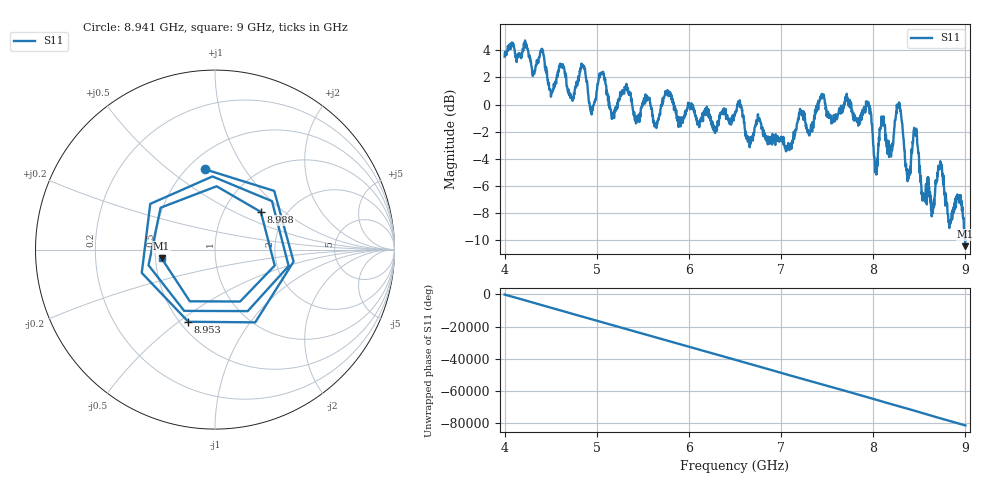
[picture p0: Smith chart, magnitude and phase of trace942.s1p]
! Created with skrf 1.8.0 (http://scikit-rf.org).
# Hz S RI R 50.0
!freq ReS11 ImS11
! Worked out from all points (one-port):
!   1601 points, 4 GHz to 9 GHz, reference 50 ohm
!   lowest |S11| = -10.4 dB at 9 GHz (marker M1), VSWR 1.86, Z = 27 - j2.89 ohm
!   |S11| at or under -10 dB: 8.997643 GHz to end of sweep
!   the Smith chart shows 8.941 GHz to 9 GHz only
!   S11 on the Smith chart (normalised r, x): 8.941 GHz: 0.60, +0.68; 8.953 GHz: 0.55, -0.54; 8.988 GHz: 1.49, +0.70; 9 GHz: 0.54, -0.06
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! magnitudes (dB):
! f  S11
! 4 GHz  3.5
! 4.406 GHz  4.1
! 4.509 GHz  0.8
! 4.625 GHz  2.8
! 4.725 GHz  0.5
! 4.847 GHz  2.8
! 4.941 GHz  -0.4
! 5.053 GHz  2.3
! 5.162 GHz  -1.0
! 5.25 GHz  0.6
! 5.875 GHz  -1.2
! 6.5 GHz  -0.7
! 7.125 GHz  -2.6
! 7.444 GHz  0.8
! 7.75 GHz  0.2
! 7.947 GHz  0.2
! 8.028 GHz  -4.9
! 8.094 GHz  -1.5
! 8.281 GHz  0.2
! 8.375 GHz  -5.4
! 8.453 GHz  -1.9
! 8.544 GHz  -7.0
! 8.728 GHz  -4.2
! 8.831 GHz  -8.6
! 8.941 GHz  -6.9
! 8.953 GHz  -7.4
! 8.988 GHz  -9.6
! 9 GHz  -10.4
